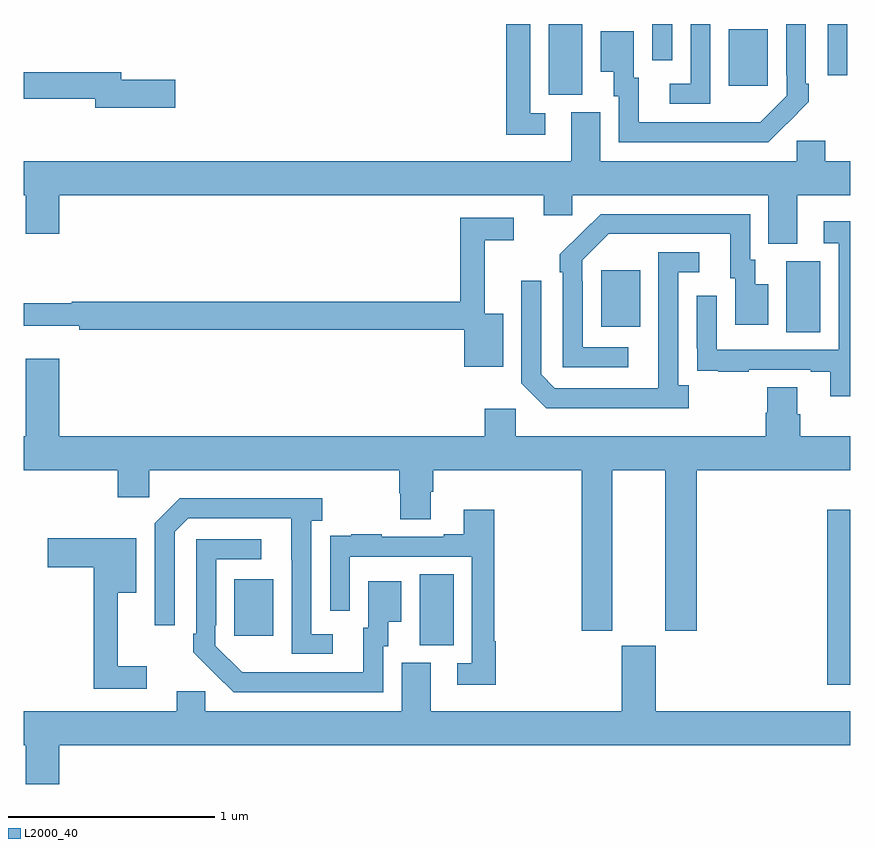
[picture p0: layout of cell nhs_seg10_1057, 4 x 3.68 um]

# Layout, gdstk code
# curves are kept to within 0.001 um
import gdstk
lib = gdstk.Library(unit=1e-6, precision=1e-09)
def R(c, l, rs):  # rectangles x0, y0, x1, y1
    for r in rs: c.add(gdstk.rectangle(r[:2], r[2:], *l))
def P(c, l, *ps):  # polygons
    for p in ps: c.add(gdstk.Polygon(p, *l))
L2000_40 = (2000, 40)

nhs_seg10_1057 = lib.new_cell('nhs_seg10_1057')
R(nhs_seg10_1057, L2000_40, [(168.889,1275.3,169,1276.147), (166.916,1275.493,167.08,1275.836), (166.019,1275.537,166.207,1275.811), (168.692,1277.008,168.856,1277.352), (167.795,1277.033,167.983,1277.308), (167.54,1278.157,167.704,1278.5), (168.413,1278.201,168.601,1278.475), (168.891,1278.252,168.987,1278.5), (168.042,1278.324,168.138,1278.5)])
P(nhs_seg10_1057, L2000_40, [(168.695,1278.019),(168.696,1278.018),(168.801,1278.123),(168.801,1278.211),(168.786,1278.211),(168.786,1278.5),(168.69,1278.5),(168.69,1278.253),(168.693,1278.253),(168.693,1278.153),(168.565,1278.025),(167.977,1278.024),(167.977,1278.24),(167.953,1278.24),(167.953,1278.466),(167.792,1278.466),(167.792,1278.269),(167.855,1278.269),(167.855,1278.15),(167.88,1278.15),(167.88,1277.928),(168.604,1277.928)],
  [(167.524,1278.069),(167.451,1278.069),(167.451,1278.5),(167.335,1278.5),(167.335,1277.964),(167.524,1277.964)],
  [(168.324,1278.5),(168.228,1278.5),(168.228,1278.21),(168.126,1278.21),(168.126,1278.114),(168.324,1278.114)],
  [(165.733,1278.23),(165.472,1278.23),(165.472,1278.266),(165,1278.266),(165,1278.138),(165.344,1278.138),(165.344,1278.095),(165.733,1278.095)],
  [(168.745,1277.672),(169,1277.672),(169,1277.836),(168.88,1277.836),(168.88,1277.934),(168.741,1277.934),(168.741,1277.836),(167.791,1277.836),(167.791,1278.072),(167.651,1278.072),(167.651,1277.836),(165,1277.836),(165,1277.672),(165.008,1277.672),(165.008,1277.484),(165.172,1277.484),(165.172,1277.672),(167.516,1277.672),(167.516,1277.574),(167.655,1277.574),(167.655,1277.672),(168.605,1277.672),(168.605,1277.437),(168.745,1277.437)],
  [(167.926,1276.935),(167.706,1276.935),(167.706,1277.255),(167.703,1277.255),(167.703,1277.355),(167.832,1277.484),(168.419,1277.484),(168.419,1277.268),(168.443,1277.268),(168.443,1277.043),(168.604,1277.043),(168.604,1277.239),(168.541,1277.239),(168.541,1277.358),(168.516,1277.358),(168.516,1277.58),(167.792,1277.58),(167.595,1277.385),(167.595,1277.297),(167.61,1277.297),(167.61,1276.839),(167.926,1276.839)],
  [(167.32,1277.098),(167.231,1277.098),(167.231,1277.454),(167.371,1277.454),(167.371,1277.562),(167.113,1277.562),(167.113,1277.156),(165.232,1277.156),(165.232,1277.149),(165,1277.149),(165,1277.039),(165.268,1277.039),(165.268,1277.02),(167.133,1277.02),(167.133,1276.841),(167.32,1276.841)],
  [(169,1277.545),(168.873,1277.545),(168.873,1277.439),(168.945,1277.439),(168.945,1276.923),(168.354,1276.923),(168.354,1277.185),(168.258,1277.185),(168.258,1276.93),(168.259,1276.93),(168.259,1276.821),(168.361,1276.821),(168.361,1276.815),(168.509,1276.815),(168.509,1276.827),(168.809,1276.827),(168.809,1276.815),(168.905,1276.815),(168.905,1276.698),(169,1276.698)],
  [(168.22,1276.75),(168.168,1276.75),(168.168,1277.298),(168.271,1277.298),(168.271,1277.394),(168.072,1277.394),(168.071,1276.737),(167.571,1276.737),(167.505,1276.803),(167.505,1277.257),(167.409,1277.257),(167.409,1276.761),(167.53,1276.64),(168.22,1276.64)],
  [(167.848,1276.34),(168.104,1276.34),(168.104,1275.561),(168.257,1275.561),(168.257,1276.34),(169,1276.34),(169,1276.504),(168.758,1276.504),(168.758,1276.61),(168.745,1276.61),(168.745,1276.742),(168.598,1276.742),(168.598,1276.617),(168.593,1276.617),(168.593,1276.504),(167.382,1276.504),(167.382,1276.636),(167.231,1276.636),(167.231,1276.504),(165.172,1276.504),(165.172,1276.879),(165.008,1276.879),(165.008,1276.504),(165,1276.504),(165,1276.34),(165.455,1276.34),(165.455,1276.209),(165.606,1276.209),(165.606,1276.34),(166.817,1276.34),(166.817,1276.227),(166.822,1276.227),(166.822,1276.102),(166.969,1276.102),(166.969,1276.234),(166.982,1276.234),(166.982,1276.34),(167.701,1276.34),(167.701,1275.561),(167.848,1275.561)],
  [(166.495,1275.546),(166.392,1275.546),(166.392,1276.094),(166.444,1276.094),(166.444,1276.204),(165.754,1276.204),(165.633,1276.083),(165.633,1275.588),(165.729,1275.588),(165.729,1276.041),(165.795,1276.107),(166.295,1276.107),(166.296,1275.45),(166.495,1275.45)],
  [(167.285,1275.512),(167.278,1275.512),(167.278,1276.147),(167.129,1276.147),(167.129,1276.03),(167.033,1276.03),(167.033,1276.017),(166.733,1276.017),(166.733,1276.03),(166.585,1276.03),(166.585,1276.023),(166.483,1276.023),(166.483,1275.914),(166.482,1275.914),(166.482,1275.66),(166.578,1275.66),(166.578,1275.921),(167.169,1275.921),(167.169,1275.405),(167.097,1275.405),(167.097,1275.3),(167.285,1275.3)],
  [(165.595,1275.391),(165.455,1275.391),(165.455,1275.746),(165.544,1275.746),(165.544,1276.011),(165.114,1276.011),(165.114,1275.869),(165.337,1275.869),(165.337,1275.282),(165.595,1275.282)],
  [(166.74,1275.486),(166.765,1275.486),(166.765,1275.605),(166.828,1275.605),(166.828,1275.802),(166.667,1275.802),(166.667,1275.576),(166.643,1275.576),(166.643,1275.36),(166.056,1275.361),(165.927,1275.489),(165.927,1275.589),(165.93,1275.589),(165.93,1275.909),(166.15,1275.909),(166.15,1276.005),(165.834,1276.005),(165.834,1275.547),(165.819,1275.547),(165.819,1275.459),(166.016,1275.264),(166.74,1275.264)],
  [(165.172,1275.008),(169,1275.008),(169,1275.172),(168.058,1275.172),(168.058,1275.489),(167.894,1275.489),(167.894,1275.172),(166.969,1275.172),(166.969,1275.408),(166.829,1275.408),(166.829,1275.172),(165.879,1275.172),(165.879,1275.27),(165.74,1275.27),(165.74,1275.172),(165,1275.172),(165,1275.008),(165.008,1275.008),(165.008,1274.82),(165.172,1274.82)])

lib.write_gds('nhs_seg10_1057.gds')
